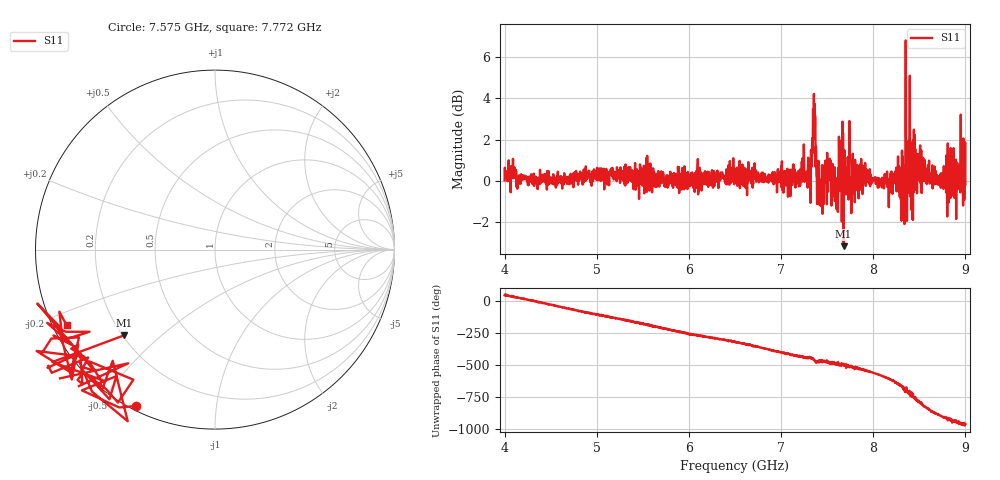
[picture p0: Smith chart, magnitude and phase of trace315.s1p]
! Created with skrf 1.8.0 (http://scikit-rf.org).
# Hz S RI R 50.0
!freq ReS11 ImS11
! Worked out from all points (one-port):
!   1601 points, 4 GHz to 9 GHz, reference 50 ohm
!   lowest |S11| = -3.2 dB at 7.678 GHz (marker M1), VSWR 5.56, Z = 10.4 - j19.1 ohm
!   |S11| at or under -10 dB: nowhere
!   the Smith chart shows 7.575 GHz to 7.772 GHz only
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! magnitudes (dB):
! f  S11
! 4 GHz  0.0
! 4.625 GHz  -0.4
! 5.25 GHz  0.0
! 5.875 GHz  0.1
! 6.5 GHz  0.6
! 7.125 GHz  0.2
! 7.297 GHz  0.9
! 7.356 GHz  4.2
! 7.412 GHz  -0.9
! 7.438 GHz  -1.1
! 7.481 GHz  1.0
! 7.591 GHz  0.0
! 7.65 GHz  1.9
! 7.678 GHz  -3.2
! 7.703 GHz  -0.4
! 7.75 GHz  0.2
! 8.259 GHz  0.0
! 8.322 GHz  -1.1
! 8.334 GHz  -0.2
! 8.356 GHz  2.2
! 8.375 GHz  -0.5
! 8.391 GHz  0.0
! 8.441 GHz  2.5
! 8.459 GHz  -0.4
! 8.519 GHz  1.4
! 8.812 GHz  0.7
! 8.972 GHz  0.1
! 9 GHz  -0.2
